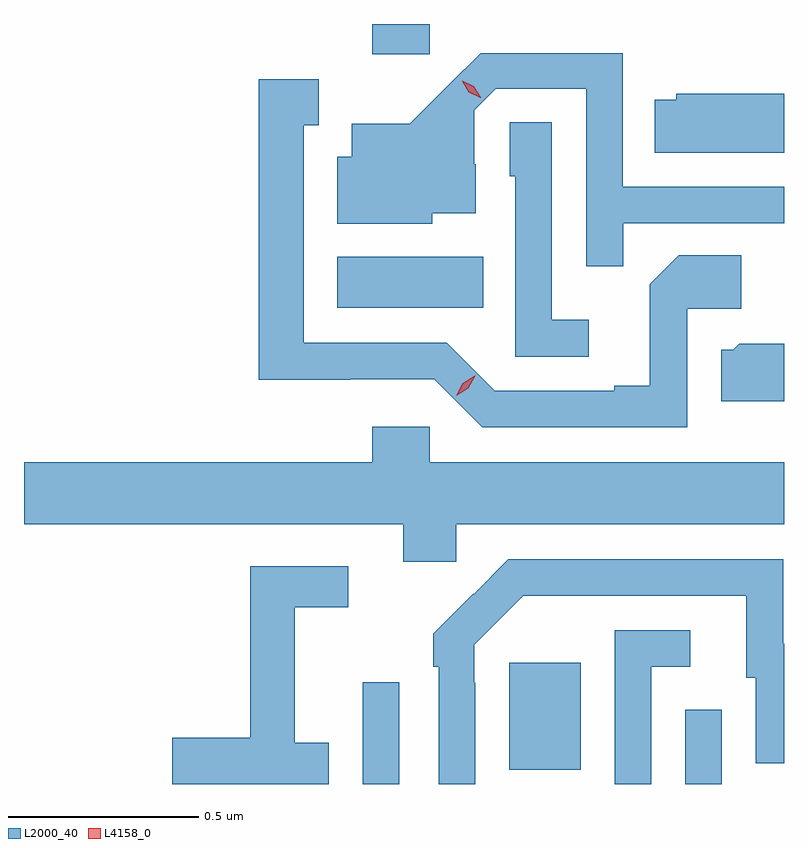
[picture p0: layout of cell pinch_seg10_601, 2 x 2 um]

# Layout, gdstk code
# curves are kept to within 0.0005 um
import gdstk
lib = gdstk.Library(unit=1e-6, precision=1e-09)
def R(c, l, rs):  # rectangles x0, y0, x1, y1
    for r in rs: c.add(gdstk.rectangle(r[:2], r[2:], *l))
def P(c, l, *ps):  # polygons
    for p in ps: c.add(gdstk.Polygon(p, *l))
L2000_40 = (2000, 40)
L4158_0 = (4158, 0)

pinch_seg10_601 = lib.new_cell('pinch_seg10_601')
R(pinch_seg10_601, L2000_40, [(358.329,1258.341,358.425,1258.609), (359.178,1258.341,359.274,1258.537), (358.715,1258.379,358.903,1258.66), (358.262,1259.594,358.646,1259.728), (358.355,1260.261,358.506,1260.341)])
P(pinch_seg10_601, L2000_40, [(359.015,1259.817),(359.438,1259.817),(359.438,1259.913),(359.013,1259.913),(359.013,1260.264),(358.64,1260.264),(358.453,1260.079),(358.301,1260.079),(358.301,1259.992),(358.262,1259.992),(358.262,1259.816),(358.512,1259.816),(358.512,1259.843),(358.627,1259.843),(358.627,1259.972),(358.623,1259.972),(358.623,1260.114),(358.68,1260.171),(358.917,1260.171),(358.917,1259.704),(359.015,1259.704)],
  [(359.184,1259.592),(359.326,1259.592),(359.326,1259.732),(359.161,1259.732),(359.085,1259.656),(359.085,1259.389),(358.991,1259.389),(358.991,1259.376),(358.677,1259.376),(358.551,1259.502),(358.174,1259.502),(358.174,1260.075),(358.213,1260.075),(358.213,1260.196),(358.056,1260.196),(358.056,1259.405),(358.296,1259.405),(358.296,1259.406),(358.518,1259.406),(358.644,1259.28),(359.184,1259.28)],
  [(359.438,1260.157),(359.154,1260.157),(359.154,1260.142),(359.098,1260.142),(359.098,1260.002),(359.438,1260.002)],
  [(358.924,1259.563),(358.827,1259.563),(358.827,1260.083),(358.716,1260.083),(358.716,1259.94),(358.731,1259.94),(358.731,1259.466),(358.924,1259.466)],
  [(359.438,1259.5),(359.32,1259.5),(359.304,1259.484),(359.273,1259.484),(359.273,1259.348),(359.438,1259.348)],
  [(358.575,1259.024),(359.438,1259.024),(359.438,1259.188),(358.506,1259.188),(358.506,1259.281),(358.355,1259.281),(358.355,1259.188),(357.438,1259.188),(357.438,1259.024),(358.436,1259.024),(358.436,1258.926),(358.575,1258.926)],
  [(358.626,1258.607),(358.623,1258.607),(358.623,1258.707),(358.752,1258.836),(359.339,1258.836),(359.339,1258.62),(359.363,1258.62),(359.363,1258.395),(359.438,1258.395),(359.438,1258.71),(359.436,1258.71),(359.436,1258.932),(358.712,1258.932),(358.621,1258.841),(358.62,1258.842),(358.515,1258.737),(358.515,1258.649),(358.53,1258.649),(358.53,1258.341),(358.626,1258.341)],
  [(358.24,1258.45),(358.151,1258.45),(358.151,1258.806),(358.291,1258.806),(358.291,1258.914),(358.033,1258.914),(358.033,1258.463),(357.828,1258.463),(357.828,1258.341),(358.24,1258.341)],
  [(359.088,1258.65),(359.191,1258.65),(359.191,1258.746),(358.992,1258.746),(358.992,1258.341),(359.088,1258.341)])
P(pinch_seg10_601, L4158_0, [(358.639,1260.147),(358.609,1260.162),(358.591,1260.191),(358.591,1260.192),(358.591,1260.192),(358.622,1260.177),(358.64,1260.148),(358.64,1260.147)],
  [(358.576,1259.363),(358.576,1259.363),(358.593,1259.396),(358.624,1259.415),(358.625,1259.415),(358.625,1259.415),(358.607,1259.382),(358.576,1259.363)])

lib.write_gds('pinch_seg10_601.gds')
